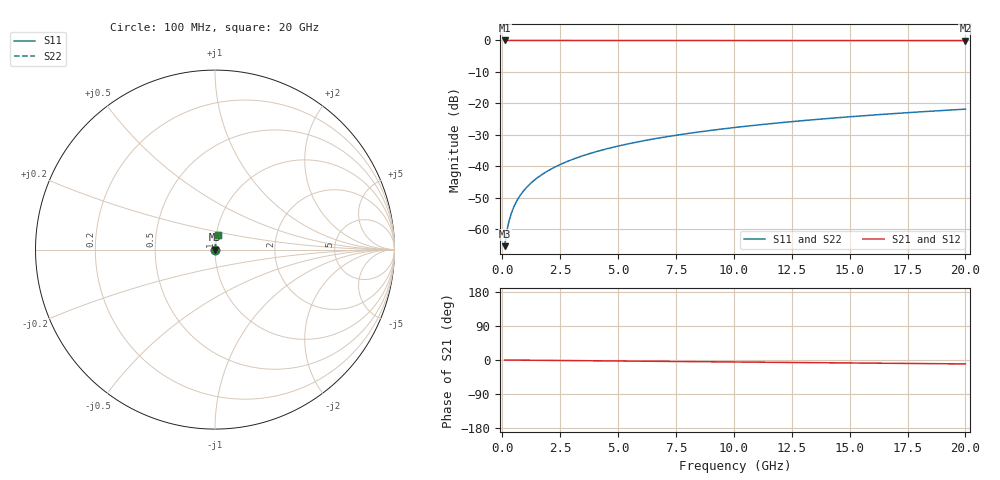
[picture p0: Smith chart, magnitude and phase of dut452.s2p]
! Touchstone file exported from HFSS 2026.1.0
!  File:  C:/ffzhzh/LocalFiles/Ansys_Project_Files/temp_train_TSV_452_1783021764_55676.aedt
!  Generated:  03:51:27 AM Jul  3, 2026
!  Design:  TSV
!  Project:  temp_train_TSV_452_1783021764_55676
! Variables:
!  h_bsmrdl = 2um
!  h_ox = 20um
!  h_rdl = 5um
!  h_sub = 90.11um
!  h_tmrdl = 5um
!  h_tsv = 90.11um
!  h_via = 3um
!  l_bsmrdl = 300um
!  l_sub = 412.68um
!  l_tmrdl = 200um
!  m_sub = 200um
!  pitch = 51.53um
!  r_tsv = 6.34um
!  s_tmrdl = 10um
!  w_bsmrdl = 18um
!  w_sub = 500um
!  w_tmrdl = 12um
!  x_tsv_center1 = 206um
!  x_tsv_center2 = 524um
!  x_tsv_center3 = 736um
!  x_tsv_center4 = 1054um
!  x_tsv_center5 = 1266um
!  x_tsv_center6 = 1584um
# GHz S MA R 50.000000
! Terminal data exported
! Port[1] = TSV1_1_T1
! Port[2] = TSV1_1_T2
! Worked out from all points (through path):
!   200 points, 100 MHz to 20 GHz, reference 50 ohm
!   highest |S21| = 0.00 dB at 100 MHz (marker M1); lowest = 0.0 dB at 20 GHz (marker M2)
!   group delay of S21, straight-line fit = 1.43 ps
!   lowest |S11| = -65.4 dB at 100 MHz (marker M3), VSWR 1.00, Z = 50 + j0.0454 ohm
!   |S11| at or under -10 dB: start of sweep to end of sweep
!   |S22| runs from -65.4 to -21.8 dB; largest |S21 - S12| = 3.5e-15
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0.1  0.0005385 57.5  0.9997 -0.1  0.9997 -0.1  0.0005385 57.5
! Gamma 0 0 0 0
! Port Impedance 50 0 50 0
0.2  0.0009549 71.7  0.9997 -0.1  0.9997 -0.1  0.0009549 71.7
0.3  0.001392 76.9  0.9997 -0.2  0.9997 -0.2  0.001392 76.9
0.4  0.001833 79.4  0.9997 -0.2  0.9997 -0.2  0.001833 79.4
0.5  0.002271 80.8  0.9996 -0.3  0.9996 -0.3  0.002271 80.8
0.6  0.002707 81.7  0.9996 -0.3  0.9996 -0.3  0.002707 81.7
0.7  0.003139 82.3  0.9996 -0.4  0.9996 -0.4  0.003139 82.3
0.8  0.003569 82.8  0.9996 -0.4  0.9996 -0.4  0.003569 82.8
1  0.004419 83.4  0.9995 -0.5  0.9995 -0.5  0.004419 83.4
1.4  0.0061 84.2  0.9994 -0.7  0.9994 -0.7  0.0061 84.2
1.7  0.007352 84.5  0.9994 -0.9  0.9994 -0.9  0.007352 84.5
2  0.008601 84.8  0.9993 -1.1  0.9993 -1.1  0.008601 84.8
2.7  0.0115 85.0  0.9992 -1.4  0.9992 -1.4  0.0115 85.0
3.5  0.01481 85.0  0.9991 -1.8  0.9991 -1.8  0.01481 85.0
4.2  0.01769 84.9  0.999 -2.2  0.999 -2.2  0.01769 84.9
5  0.02097 84.7  0.9988 -2.6  0.9988 -2.6  0.02097 84.7
6.8  0.0283 84.1  0.9985 -3.6  0.9985 -3.6  0.0283 84.1
8.3  0.03438 83.6  0.9981 -4.3  0.9981 -4.3  0.03438 83.6
10.1  0.04164 82.8  0.9977 -5.3  0.9977 -5.3  0.04164 82.8
13.4  0.05489 81.4  0.9969 -7.0  0.9969 -7.0  0.05489 81.4
16.7  0.06802 79.9  0.9959 -8.7  0.9959 -8.7  0.06802 79.9
20  0.08102 78.3  0.9948 -10.3  0.9948 -10.3  0.08102 78.3
